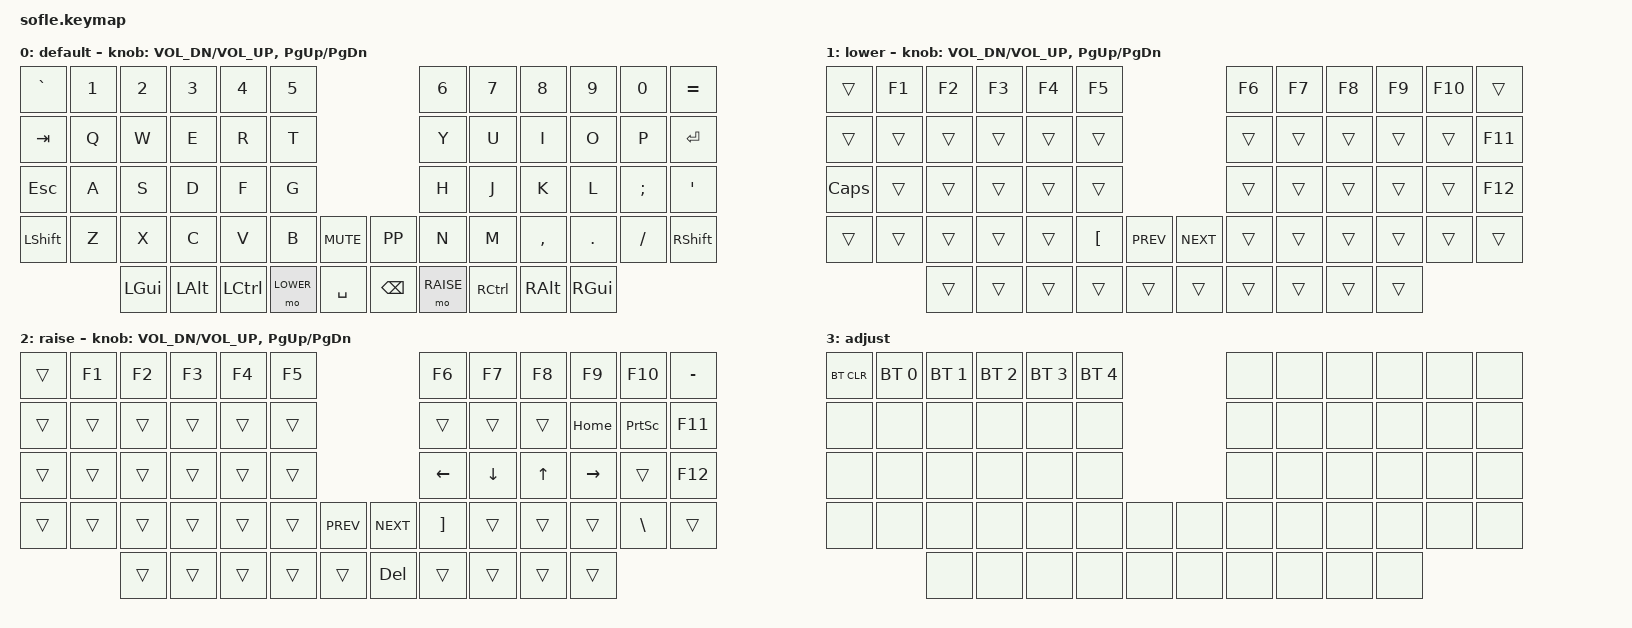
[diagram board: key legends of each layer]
/*
 * Copyright (c) 2020 The ZMK Contributors
 *
 * SPDX-License-Identifier: MIT
 */

#include <behaviors.dtsi>
#include <dt-bindings/zmk/keys.h>
#include <dt-bindings/zmk/bt.h>
#include <dt-bindings/zmk/rgb.h>
#include <dt-bindings/zmk/ext_power.h>

#define BASE 0
#define LOWER 1
#define RAISE 2
#define ADJUST 3

/ {

   // Activate ADJUST layer by pressing raise and lower
    conditional_layers {
        compatible = "zmk,conditional-layers";
        adjust_layer {
            if-layers = <LOWER RAISE>;
            then-layer = <ADJUST>;
        };
    };

    keymap {
        compatible = "zmk,keymap";

        default_layer {
            display-name = "default";
            bindings = <
&kp GRAVE &kp N1 &kp N2   &kp N3   &kp N4    &kp N5                        &kp N6     &kp N7    &kp N8    &kp N9   &kp N0   &kp EQUAL
&kp TAB   &kp Q  &kp W    &kp E    &kp R     &kp T                         &kp Y      &kp U     &kp I     &kp O    &kp P    &kp RET
&kp ESC   &kp A  &kp S    &kp D    &kp F     &kp G                         &kp H      &kp J     &kp K     &kp L    &kp SEMI &kp SQT
&kp LSHFT &kp Z  &kp X    &kp C    &kp V     &kp B     &kp C_MUTE &kp K_PP &kp N      &kp M     &kp COMMA &kp DOT  &kp FSLH &kp RSHFT
                 &kp LGUI &kp LALT &kp LCTRL &mo LOWER &kp SPACE  &kp BSPC &mo RAISE  &kp RCTRL &kp RALT  &kp RGUI
            >;
            sensor-bindings = <&inc_dec_kp C_VOL_DN C_VOL_UP &inc_dec_kp PG_UP PG_DN>;
        };

        lower_layer {
            display-name = "lower";
            bindings = <
&trans   &kp F1 &kp F2 &kp F3 &kp F4 &kp F5                         &kp F6 &kp F7 &kp F8 &kp F9 &kp F10 &trans
&trans   &trans &trans &trans &trans &trans                         &trans &trans &trans &trans &trans  &kp F11
&kp CLCK &trans &trans &trans &trans &trans                         &trans &trans &trans &trans &trans  &kp F12
&trans   &trans &trans &trans &trans &kp LBKT &kp K_PREV &kp K_NEXT &trans &trans &trans &trans &trans  &trans
                &trans &trans &trans &trans   &trans     &trans     &trans &trans &trans &trans
            >;
            sensor-bindings = <&inc_dec_kp C_VOL_DN C_VOL_UP &inc_dec_kp PG_UP PG_DN>;
        };

        raise_layer {
            display-name = "raise";
            bindings = <
&trans &kp F1 &kp F2 &kp F3 &kp F4 &kp F5                       &kp F6   &kp F7   &kp F8 &kp F9    &kp F10   &kp MINUS
&trans &trans &trans &trans &trans &trans                       &trans   &trans   &trans &kp HOME  &kp PSCRN &kp F11
&trans &trans &trans &trans &trans &trans                       &kp LEFT &kp DOWN &kp UP &kp RIGHT &trans    &kp F12
&trans &trans &trans &trans &trans &trans &kp K_PREV &kp K_NEXT &kp RBKT &trans   &trans &trans    &kp BSLH  &trans
              &trans &trans &trans &trans &trans     &kp DEL    &trans   &trans   &trans &trans
            >;
            sensor-bindings = <&inc_dec_kp C_VOL_DN C_VOL_UP &inc_dec_kp PG_UP PG_DN>;
        };

        adjust_layer {
            display-name = "adjust";
            bindings = <
&bt BT_CLR &bt BT_SEL 0 &bt BT_SEL 1 &bt BT_SEL 2 &bt BT_SEL 3 &bt BT_SEL 4             &none &none &none &none &none &none
&none      &none        &none        &none        &none        &none                    &none &none &none &none &none &none
&none      &none        &none        &none        &none        &none                    &none &none &none &none &none &none
&none      &none        &none        &none        &none        &none        &none &none &none &none &none &none &none &none
                        &none        &none        &none        &none        &none &none &none &none &none &none
            >;
        };

    };
};
